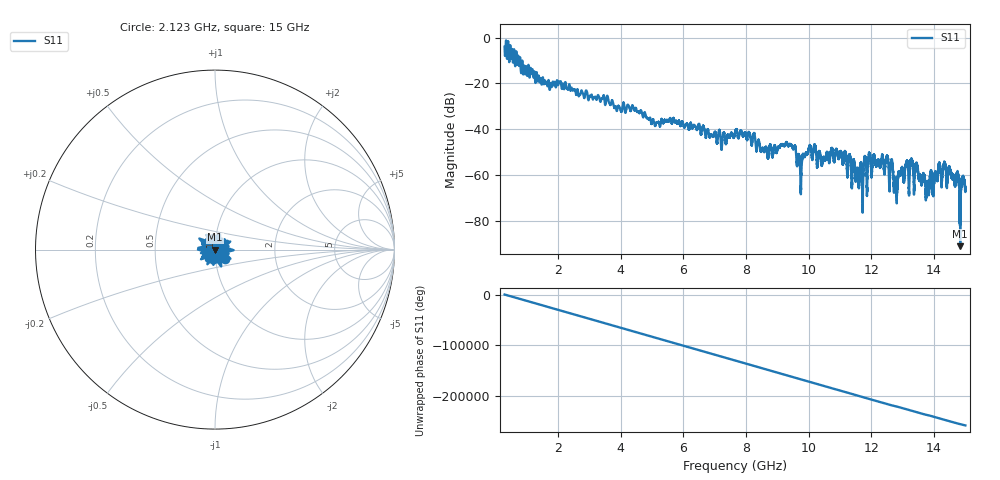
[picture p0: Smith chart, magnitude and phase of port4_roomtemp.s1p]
# GHZ S RI R 50.0
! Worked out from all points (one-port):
!   12801 points, 300 MHz to 15 GHz, reference 50 ohm
!   lowest |S11| = -91.2 dB at 14.83 GHz (marker M1), VSWR 1.00, Z = 50 + j0.00103 ohm
!   |S11| at or under -10 dB: 745.8 MHz to 782.9 MHz (37.15 MHz wide, 4.86 % of centre); 800.3 MHz to 861.5 MHz (61.27 MHz wide, 7.37 % of centre); 862.3 MHz to end of sweep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
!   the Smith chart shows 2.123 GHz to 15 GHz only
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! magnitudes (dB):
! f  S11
! 300 MHz  -4.0
! 959.2 MHz  -16.0
! 2.138 GHz  -22.2
! 3.975 GHz  -30.6
! 4.426 GHz  -31.3
! 5.131 GHz  -37.5
! 5.812 GHz  -37.5
! 7.265 GHz  -42.8
! 7.65 GHz  -41.6
! 8.653 GHz  -48.4
! 9.488 GHz  -47.9
! 9.701 GHz  -52.3
! 10.02 GHz  -47.8
! 10.46 GHz  -53.1
! 10.94 GHz  -52.2
! 11.32 GHz  -52.0
! 11.66 GHz  -55.0
! 11.96 GHz  -51.5
! 12.49 GHz  -52.2
! 12.77 GHz  -61.6
! 12.92 GHz  -59.8
! 13.16 GHz  -55.3
! 13.46 GHz  -55.9
! 13.78 GHz  -63.4
! 14.33 GHz  -54.8
! 14.73 GHz  -59.6
! 14.83 GHz  -91.2
! 15 GHz  -67.4
